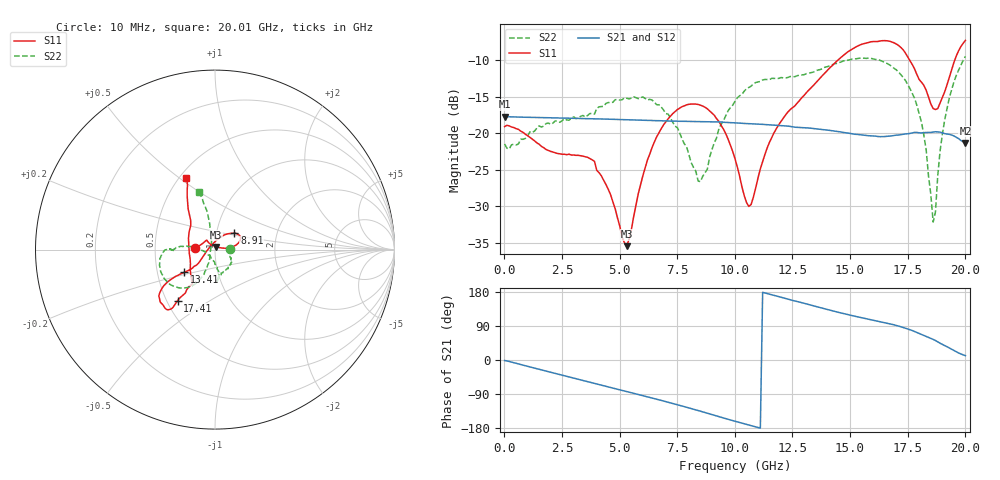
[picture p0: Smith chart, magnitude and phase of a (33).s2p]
! Hittite Microwave Corporation
! 2 Elizabeth Drive
! Chelmsford, MA 01824
! http://www.hittite.com
! Tel: 978-250-3343
! Fax: 978-250-3373
! Device:  HMC424LP3
! Description: 0.5 dB GaAs MMIC 6-Bit Digital Attenuator
! Frequency:  DC -  13.00 GHz
! Package:  LP3  - 3x3 mm Quad Flatpack No-Lead (QFN) Plastic Package: 16 pin
! Ports:  2 RF, 7 DC
!  Pad  1  = Ground
!  Pad  2  = RF IN  = Port 1
!  Pad  3  = Ground
!  Pad  4  = V6
!  Pad  5  = V5
!  Pad  6  = V4
!  Pad  7  = V3
!  Pad  8  = V2
!  Pad  9  = V1
!  Pad 10  = Ground
!  Pad 11  = RF OUT  = Port 2
!  Pad 12  = Ground
!  Pad 15  = VEE
! Control:  -5 Volt control voltage
! State:  31
! Attenuation:  15.5 dB
! Voltages:  Vdd = -5.00 Volts  Idd =  -2.802 mA
!  V1  = -5.00 Volts  I1  =  -1.0 uA
!  V2  = -5.00 Volts  I2  =  -1.0 uA
!  V3  = -5.00 Volts  I3  =  -1.0 uA
!  V4  = -5.00 Volts  I4  =  -1.0 uA
!  V5  = -5.00 Volts  I5  =  -1.0 uA
!  V6  = 0.00 Volts  I6  =  30.0 uA
! Data:  The device was measured on evaluation board 105354-1.
!  Data was collected using a calibrated network analyzer.
!  The evaluation circuit board was modeled and simulated.  This was use
!  to removed the evaluation board circuit from the measured data.
!  The reference plane is the edge of the package pin.
! Misc:  Lot xxxx, Unit 1
!  Application 20120001, Data collected in Application 20090083
! Date Measured:  2009-09-15
! Date:  2012-05-14  MJV
! Note:
!  Hittite supplies this data as a sample of measured data at the package pin
!  for this product.  Your particular data for this product may vary.
!  Data was taken at 25 degrees C.
!  Hittite reserves the right to change this data at anytime.
# GHz S MA R 50
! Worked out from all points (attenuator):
!   201 points, 10 MHz to 20.01 GHz, reference 50 ohm
!   highest |S21| = -17.74 dB at 10 MHz (marker M1); lowest = -21.4 dB at 20.01 GHz (marker M2)
!   lowest |S11| = -35.5 dB at 5.31 GHz (marker M3), VSWR 1.03, Z = 50.7 + j1.56 ohm
!   |S11| at or under -10 dB: start of sweep to 14.48 GHz; 17.58 GHz to 19.55 GHz (1.97 GHz wide, 10.6 % of centre)
!   |S22| runs from -32.2 to -9.5 dB; largest |S21 - S12| = 0.00082
!   S11 on the Smith chart (normalised r, x): 10 MHz: 0.80, +0.01; 8.91 GHz: 1.22, +0.23; 13.41 GHz: 0.69, -0.18; 17.41 GHz: 0.57, -0.37; 20.01 GHz: 0.54, +0.53
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0.01  0.1107 175.8  0.1297 -1.4  0.1288 -1.5  0.08405 2.6
3.41  0.06949 131.0  0.1256 -54.1  0.1255 -54.1  0.1319 -63.1
4.41  0.04433 130.6  0.1245 -69.5  0.1243 -69.5  0.1595 -82.0
5.31  0.01678 66.4  0.1232 -83.3  0.1231 -83.4  0.1731 -85.4
6.01  0.05091 9.0  0.1223 -94.1  0.1222 -94.1  0.1764 -86.5
6.71  0.1005 9.4  0.1214 -105.1  0.1212 -105.1  0.156 -83.1
7.51  0.1447 18.4  0.1205 -118.0  0.1203 -118.0  0.1086 -83.8
8.41  0.1568 31.3  0.1196 -133.3  0.1194 -133.3  0.04688 -120.1
8.91  0.1416 40.1  0.1194 -142.2  0.1192 -142.2  0.06853 -175.1
10.01  0.0667 70.5  0.1175 -161.7  0.1173 -161.7  0.1648 172.8
10.51  0.0334 119.3  0.116 -170.0  0.1159 -170.0  0.2011 175.6
10.71  0.0324 156.5  0.1157 -173.3  0.1154 -173.2  0.2092 176.5
11.71  0.1007 -143.3  0.1133 170.5  0.1131 170.5  0.2364 -178.4
13.41  0.2115 -143.5  0.1073 143.0  0.1071 143.0  0.2612 179.0
15.11  0.3766 -143.1  0.09868 116.9  0.09849 116.9  0.3214 -164.4
16.71  0.4258 -128.1  0.09512 95.9  0.09494 96.0  0.2936 -133.5
17.41  0.3522 -126.3  0.09851 83.9  0.09829 83.9  0.2288 -121.0
18.11  0.2222 -124.3  0.1002 67.5  0.09998 67.5  0.1176 -113.8
18.31  0.1959 -133.6  0.1008 62.5  0.1008 62.5  0.07602 -115.4
18.61  0.1471 -160.6  0.1014 54.4  0.1013 54.4  0.02454 -174.3
19.11  0.1911 134.9  0.09903 38.0  0.09894 38.1  0.1226 103.0
20.01  0.4304 112.2  0.08536 11.4  0.08548 11.3  0.335 105.9
